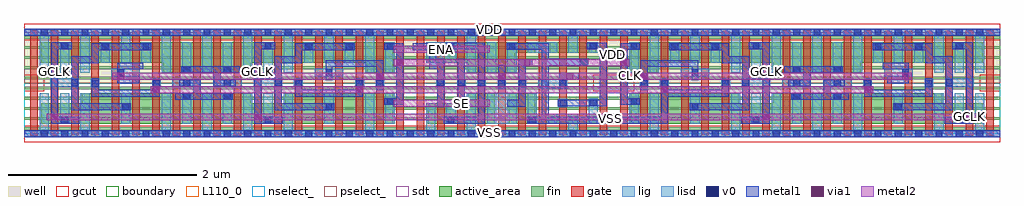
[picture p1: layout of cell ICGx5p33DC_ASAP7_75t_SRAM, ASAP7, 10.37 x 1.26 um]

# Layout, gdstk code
import gdstk
lib = gdstk.Library(unit=1e-6, precision=2.5e-10)
def R(c, l, rs):  # rectangles x0, y0, x1, y1
    for r in rs: c.add(gdstk.rectangle(r[:2], r[2:], *l))
def A(c, l, x, y, w, h, nx, ny, dx, dy):  # array of equal rectangles
    R(c, l, [(x+i*dx, y+j*dy, x+i*dx+w, y+j*dy+h) for i in range(nx) for j in range(ny)])
def P(c, l, *ps):  # polygons
    for p in ps: c.add(gdstk.Polygon(p, *l))
well = (1, 0)
fin = (2, 0)
gate = (7, 0)
gcut = (10, 0)
active_area = (11, 0)
nselect_ = (12, 0)
pselect_ = (13, 0)
lig = (16, 0)
lisd = (17, 0)
v0 = (18, 0)
metal1 = (19, 0)
metal2 = (20, 0)
via1 = (21, 0)
sdt = (88, 0)
boundary = (100, 0)
L110_0 = (110, 0)

icgx5p33dc_asap7_75t_sra = lib.new_cell('ICGx5p33DC_ASAP7_75t_SRAM')
R(icgx5p33dc_asap7_75t_sra, well, [(0,0.54,10.368,1.08)])
A(icgx5p33dc_asap7_75t_sra, fin, 0, 0.04, 10.368, 0.028, 1, 10, 0, 0.108)
A(icgx5p33dc_asap7_75t_sra, gate, 1.364, -0.02, 0.08, 1.12, 6, 1, 0.216, 0)
A(icgx5p33dc_asap7_75t_sra, gate, 7.844, -0.02, 0.08, 1.12, 6, 1, 0.216, 0)
A(icgx5p33dc_asap7_75t_sra, gate, 0.5, -0.014, 0.08, 1.108, 4, 1, 0.216, 0)
A(icgx5p33dc_asap7_75t_sra, gate, 2.66, -0.014, 0.08, 1.108, 24, 1, 0.216, 0)
A(icgx5p33dc_asap7_75t_sra, gate, 9.14, -0.014, 0.08, 1.108, 4, 1, 0.216, 0)
R(icgx5p33dc_asap7_75t_sra, gate, [(0.068,-0.02,0.148,1.1), (0.284,-0.02,0.364,1.1), (10.004,-0.02,10.084,1.1), (10.22,-0.02,10.3,1.1)])
R(icgx5p33dc_asap7_75t_sra, gcut, [(0,-0.088,10.368,0.088), (0,0.452,0.216,0.628), (6.048,0.452,6.48,0.628), (10.152,0.452,10.368,0.628), (0,0.992,10.368,1.168)])
R(icgx5p33dc_asap7_75t_sra, active_area, [(5.584,0.864,6.08,0.972)])
P(icgx5p33dc_asap7_75t_sra, active_area, [(10.184,0.324),(9.756,0.324),(9.756,0.432),(7.96,0.432),(7.96,0.324),(7.592,0.324),(7.592,0.432),(6.448,0.432),(6.448,0.108),(10.184,0.108)],
  [(6.08,0.216),(5.432,0.216),(5.432,0.432),(5.152,0.432),(5.152,0.108),(6.08,0.108)],
  [(5.432,0.972),(4.288,0.972),(4.288,0.756),(4.72,0.756),(4.72,0.648),(5.216,0.648),(5.216,0.864),(5.432,0.864)],
  [(5,0.432),(4.72,0.432),(4.72,0.324),(4.288,0.324),(4.288,0.108),(5,0.108)],
  [(3.92,0.432),(2.776,0.432),(2.776,0.324),(2.408,0.324),(2.408,0.432),(0.616,0.432),(0.616,0.324),(0.184,0.324),(0.184,0.108),(3.92,0.108)],
  [(10.184,0.972),(6.448,0.972),(6.448,0.648),(6.728,0.648),(6.728,0.756),(7.96,0.756),(7.96,0.648),(8.888,0.648),(8.888,0.756),(10.184,0.756)],
  [(3.92,0.972),(0.184,0.972),(0.184,0.756),(1.48,0.756),(1.48,0.648),(2.408,0.648),(2.408,0.756),(3.64,0.756),(3.64,0.648),(3.92,0.648)])
R(icgx5p33dc_asap7_75t_sra, nselect_, [(0,0,10.368,0.54)])
R(icgx5p33dc_asap7_75t_sra, pselect_, [(0,0.54,10.368,1.08)])
R(icgx5p33dc_asap7_75t_sra, lig, [(0,-0.032,10.368,0.032), (5.676,0.284,5.772,0.372), (5.032,0.492,5.12,0.576), (5.248,0.492,5.336,0.576), (5.464,0.492,5.556,0.576), (0.708,0.496,0.8,0.584), (1.36,0.496,1.452,0.584), (1.576,0.496,1.88,0.584), (2.008,0.496,2.312,0.584), (2.868,0.496,2.96,0.584), (3.52,0.496,3.612,0.584), (3.736,0.496,3.828,0.584), (4.38,0.496,4.472,0.584), (4.6,0.496,4.692,0.584), (4.816,0.496,4.904,0.584), (6.54,0.496,6.632,0.584), (6.756,0.496,6.848,0.584), (7.408,0.496,7.5,0.584), (8.056,0.496,8.36,0.584), (8.488,0.496,8.792,0.584), (8.916,0.496,9.008,0.584), (9.568,0.496,9.66,0.584), (0.28,0.5,0.584,0.588), (2.44,0.5,2.744,0.588), (7.624,0.5,7.928,0.588), (9.784,0.5,10.088,0.588), (0.928,0.604,1.232,0.692), (3.088,0.604,3.392,0.692), (6.976,0.604,7.28,0.692), (9.136,0.604,9.44,0.692), (5.896,0.72,5.984,0.8), (0,1.048,10.368,1.112)])
A(icgx5p33dc_asap7_75t_sra, lisd, 1.464, 0, 0.096, 0.432, 4, 2, 0.432, 0.648)
A(icgx5p33dc_asap7_75t_sra, lisd, 7.512, 0, 0.096, 0.432, 4, 2, 0.432, 0.648)
A(icgx5p33dc_asap7_75t_sra, lisd, 0.384, 0.108, 0.096, 0.324, 3, 1, 0.648, 0)
A(icgx5p33dc_asap7_75t_sra, lisd, 2.544, 0.108, 0.096, 0.324, 3, 1, 0.648, 0)
A(icgx5p33dc_asap7_75t_sra, lisd, 6.432, 0.108, 0.096, 0.324, 3, 1, 0.648, 0)
A(icgx5p33dc_asap7_75t_sra, lisd, 8.592, 0.108, 0.096, 0.324, 3, 1, 0.648, 0)
A(icgx5p33dc_asap7_75t_sra, lisd, 1.68, 0.648, 0.096, 0.324, 3, 1, 0.432, 0)
A(icgx5p33dc_asap7_75t_sra, lisd, 5.136, 0.648, 0.096, 0.324, 3, 1, 1.296, 0)
R(icgx5p33dc_asap7_75t_sra, lisd, [(0.168,0,0.264,0.432), (0.6,0,0.696,0.432), (3.624,0,3.72,0.432), (4.272,0,4.368,0.324), (4.704,0,4.8,0.432), (5.784,0,5.88,0.216), (6.648,0,6.744,0.432), (9.672,0,9.768,0.432), (10.104,0,10.2,0.432), (2.112,0.108,2.208,0.432), (4.488,0.108,4.584,0.324), (4.92,0.108,5.232,0.432), (5.352,0.108,5.448,0.432), (5.568,0.108,5.664,0.216), (6,0.108,6.096,0.376), (8.16,0.108,8.256,0.432), (5.496,0.484,5.772,0.584), (0.168,0.648,0.264,1.08), (0.384,0.648,0.48,0.972), (0.6,0.648,0.696,1.08), (3.624,0.648,3.72,1.08), (3.84,0.648,3.936,0.972), (4.704,0.648,4.8,1.08), (4.92,0.648,5.016,0.972), (6.648,0.648,6.744,1.08), (8.16,0.648,8.256,0.972), (8.592,0.648,8.688,0.972), (9.672,0.648,9.768,1.08), (9.888,0.648,9.984,0.972), (10.104,0.648,10.2,1.08), (0.816,0.756,0.912,0.972), (1.032,0.756,1.128,1.08), (1.248,0.756,1.344,0.972), (2.976,0.756,3.072,0.972), (3.192,0.756,3.288,1.08), (3.408,0.756,3.504,0.972), (4.272,0.756,4.592,0.972), (6.864,0.756,6.96,0.972), (7.08,0.756,7.176,1.08), (7.296,0.756,7.392,0.972), (9.024,0.756,9.12,0.972), (9.24,0.756,9.336,1.08), (9.456,0.756,9.552,0.972), (5.352,0.864,5.664,0.972), (5.784,0.864,5.88,1.08), (6,0.864,6.096,0.972)])
A(icgx5p33dc_asap7_75t_sra, v0, 0.18, -0.036, 0.072, 0.072, 47, 2, 0.216, 1.08)
A(icgx5p33dc_asap7_75t_sra, v0, 1.692, 0.36, 0.072, 0.072, 1, 3, 0, 0.144)
A(icgx5p33dc_asap7_75t_sra, v0, 2.124, 0.36, 0.072, 0.072, 1, 3, 0, 0.144)
A(icgx5p33dc_asap7_75t_sra, v0, 8.172, 0.36, 0.072, 0.072, 1, 3, 0, 0.144)
A(icgx5p33dc_asap7_75t_sra, v0, 8.604, 0.36, 0.072, 0.072, 1, 3, 0, 0.144)
A(icgx5p33dc_asap7_75t_sra, v0, 3.852, 0.892, 0.072, 0.072, 3, 1, 1.296, 0)
R(icgx5p33dc_asap7_75t_sra, v0, [(0.396,0.108,0.468,0.18), (2.556,0.108,2.628,0.18), (4.5,0.108,4.572,0.18), (5.364,0.108,5.436,0.18), (7.74,0.108,7.812,0.18), (9.9,0.108,9.972,0.18), (1.044,0.252,1.116,0.324), (3.204,0.252,3.276,0.324), (7.092,0.252,7.164,0.324), (9.252,0.252,9.324,0.324), (5.692,0.292,5.764,0.364), (6.012,0.292,6.084,0.364), (3.852,0.308,3.924,0.38), (6.444,0.308,6.516,0.38), (0.72,0.496,0.792,0.568), (1.368,0.496,1.44,0.568), (2.88,0.496,2.952,0.568), (3.528,0.496,3.6,0.568), (3.744,0.496,3.816,0.568), (5.04,0.496,5.112,0.568), (5.256,0.496,5.328,0.568), (6.552,0.496,6.624,0.568), (6.768,0.496,6.84,0.568), (7.416,0.496,7.488,0.568), (8.928,0.496,9,0.568), (9.576,0.496,9.648,0.568), (5.688,0.5,5.76,0.572), (4.824,0.504,4.896,0.576), (0.504,0.508,0.576,0.58), (2.664,0.508,2.736,0.58), (7.632,0.508,7.704,0.58), (9.792,0.508,9.864,0.58), (4.392,0.512,4.464,0.584), (4.608,0.512,4.68,0.584), (0.992,0.612,1.064,0.684), (3.204,0.612,3.276,0.684), (7.092,0.612,7.164,0.684), (9.328,0.612,9.4,0.684), (5.904,0.724,5.976,0.796), (0.828,0.888,0.9,0.96), (1.26,0.888,1.332,0.96), (2.988,0.888,3.06,0.96), (3.42,0.888,3.492,0.96), (6.876,0.888,6.948,0.96), (7.308,0.888,7.38,0.96), (9.036,0.888,9.108,0.96), (9.468,0.888,9.54,0.96), (4.5,0.896,4.572,0.968), (6.012,0.896,6.084,0.968), (0.396,0.9,0.468,0.972), (2.556,0.9,2.628,0.972), (7.74,0.9,7.812,0.972), (9.9,0.9,9.972,0.972)])
R(icgx5p33dc_asap7_75t_sra, metal1, [(0,-0.036,10.368,0.036), (4.608,0.28,4.68,0.796), (5.04,0.476,5.112,0.736), (0,1.044,10.368,1.116)])
P(icgx5p33dc_asap7_75t_sra, metal1, [(2.448,0.972),(2.668,0.972),(2.668,0.9),(2.52,0.9),(2.52,0.18),(2.748,0.18),(2.748,0.108),(2.448,0.108)],
  [(9.864,0.824),(9.648,0.824),(9.648,0.96),(9.016,0.96),(9.016,0.888),(9.576,0.888),(9.576,0.752),(9.792,0.752),(9.792,0.324),(9.232,0.324),(9.232,0.252),(9.864,0.252)],
  [(9.648,0.588),(9.576,0.588),(9.576,0.468),(9,0.468),(9,0.588),(8.928,0.588),(8.928,0.396),(9.648,0.396)],
  [(0.288,0.972),(0.508,0.972),(0.508,0.9),(0.36,0.9),(0.36,0.18),(0.588,0.18),(0.588,0.108),(0.288,0.108)],
  [(9.4,0.756),(9.124,0.756),(9.124,0.684),(9.328,0.684),(9.328,0.612),(9.168,0.612),(9.168,0.54),(9.4,0.54)],
  [(8.76,0.432),(8.568,0.432),(8.568,0.504),(8.72,0.504),(8.72,0.576),(8.496,0.576),(8.496,0.432),(8.152,0.432),(8.152,0.36),(8.76,0.36)],
  [(8.696,0.72),(8.076,0.72),(8.076,0.648),(8.28,0.648),(8.28,0.576),(8.12,0.576),(8.12,0.504),(8.352,0.504),(8.352,0.648),(8.696,0.648)],
  [(7.704,0.824),(7.488,0.824),(7.488,0.96),(6.856,0.96),(6.856,0.888),(7.416,0.888),(7.416,0.752),(7.632,0.752),(7.632,0.324),(7.072,0.324),(7.072,0.252),(7.704,0.252)],
  [(10.08,0.972),(9.86,0.972),(9.86,0.9),(10.008,0.9),(10.008,0.18),(9.78,0.18),(9.78,0.108),(10.08,0.108)],
  [(7.488,0.588),(7.416,0.588),(7.416,0.468),(6.84,0.468),(6.84,0.588),(6.768,0.588),(6.768,0.18),(5.572,0.18),(5.572,0.724),(5.996,0.724),(5.996,0.796),(5.572,0.796),(5.572,0.964),(5.128,0.964),(5.128,0.892),(5.5,0.892),(5.5,0.18),(5.344,0.18),(5.344,0.108),(6.84,0.108),(6.84,0.396),(7.488,0.396)],
  [(7.164,0.784),(6.552,0.784),(6.552,0.464),(6.624,0.464),(6.624,0.712),(7.092,0.712),(7.092,0.568),(7.164,0.568)],
  [(6.54,0.38),(6.412,0.38),(6.412,0.892),(6.54,0.892),(6.54,0.964),(6.34,0.964),(6.34,0.308),(6.54,0.308)],
  [(6.192,0.968),(5.976,0.968),(5.976,0.896),(6.116,0.896),(6.116,0.364),(5.672,0.364),(5.672,0.292),(6.192,0.292)],
  [(5.892,0.648),(5.688,0.648),(5.688,0.48),(5.76,0.48),(5.76,0.576),(5.892,0.576)],
  [(5.4,0.792),(5.256,0.792),(5.256,0.36),(5.132,0.36),(5.132,0.288),(5.328,0.288),(5.328,0.72),(5.4,0.72)],
  [(4.896,0.968),(4.48,0.968),(4.48,0.896),(4.824,0.896),(4.824,0.18),(4.46,0.18),(4.46,0.108),(4.896,0.108)],
  [(7.92,0.972),(7.7,0.972),(7.7,0.9),(7.848,0.9),(7.848,0.18),(7.62,0.18),(7.62,0.108),(7.92,0.108)],
  [(4.464,0.796),(4.38,0.796),(4.38,0.964),(4.128,0.964),(4.128,0.888),(4.304,0.888),(4.304,0.688),(4.392,0.688),(4.392,0.28),(4.464,0.28)],
  [(4.028,0.964),(3.828,0.964),(3.828,0.892),(3.956,0.892),(3.956,0.38),(3.828,0.38),(3.828,0.308),(4.028,0.308)],
  [(3.816,0.784),(3.204,0.784),(3.204,0.568),(3.276,0.568),(3.276,0.712),(3.744,0.712),(3.744,0.464),(3.816,0.464)],
  [(3.6,0.588),(3.528,0.588),(3.528,0.468),(2.952,0.468),(2.952,0.588),(2.88,0.588),(2.88,0.396),(3.6,0.396)],
  [(3.512,0.96),(2.88,0.96),(2.88,0.824),(2.664,0.824),(2.664,0.252),(3.296,0.252),(3.296,0.324),(2.736,0.324),(2.736,0.752),(2.952,0.752),(2.952,0.888),(3.512,0.888)],
  [(2.292,0.72),(1.672,0.72),(1.672,0.648),(2.016,0.648),(2.016,0.504),(2.248,0.504),(2.248,0.576),(2.088,0.576),(2.088,0.648),(2.292,0.648)],
  [(2.216,0.432),(1.872,0.432),(1.872,0.576),(1.648,0.576),(1.648,0.504),(1.8,0.504),(1.8,0.432),(1.608,0.432),(1.608,0.36),(2.216,0.36)],
  [(1.44,0.588),(1.368,0.588),(1.368,0.468),(0.792,0.468),(0.792,0.588),(0.72,0.588),(0.72,0.396),(1.44,0.396)],
  [(1.352,0.96),(0.72,0.96),(0.72,0.824),(0.504,0.824),(0.504,0.252),(1.136,0.252),(1.136,0.324),(0.576,0.324),(0.576,0.752),(0.792,0.752),(0.792,0.888),(1.352,0.888)],
  [(1.268,0.756),(0.992,0.756),(0.992,0.54),(1.224,0.54),(1.224,0.612),(1.064,0.612),(1.064,0.684),(1.268,0.684)])
R(icgx5p33dc_asap7_75t_sra, metal2, [(0.244,0.144,10.124,0.216), (3.928,0.288,4.948,0.36), (1.344,0.432,9.024,0.504), (0.94,0.576,9.432,0.648), (3.928,0.72,6.432,0.792), (3.928,0.864,4.948,0.936)])
R(icgx5p33dc_asap7_75t_sra, via1, [(0.288,0.144,0.36,0.216), (2.448,0.144,2.52,0.216), (7.848,0.144,7.92,0.216), (10.008,0.144,10.08,0.216), (4.608,0.288,4.68,0.36), (1.368,0.432,1.44,0.504), (3.528,0.432,3.6,0.504), (6.768,0.432,6.84,0.504), (8.928,0.432,9,0.504), (0.992,0.576,1.064,0.648), (3.744,0.576,3.816,0.648), (5.04,0.576,5.112,0.648), (5.76,0.576,5.832,0.648), (6.552,0.576,6.624,0.648), (9.328,0.576,9.4,0.648), (3.956,0.72,4.028,0.792), (5.308,0.72,5.38,0.792), (6.34,0.72,6.412,0.792), (4.304,0.864,4.38,0.936)])
A(icgx5p33dc_asap7_75t_sra, sdt, 0.168, 0.108, 0.096, 0.324, 4, 1, 0.432, 0)
A(icgx5p33dc_asap7_75t_sra, sdt, 1.68, 0.108, 0.096, 0.324, 4, 1, 0.216, 0)
A(icgx5p33dc_asap7_75t_sra, sdt, 2.76, 0.108, 0.096, 0.324, 3, 1, 0.432, 0)
A(icgx5p33dc_asap7_75t_sra, sdt, 4.704, 0.108, 0.096, 0.324, 4, 1, 0.216, 0)
A(icgx5p33dc_asap7_75t_sra, sdt, 5.568, 0.108, 0.096, 0.108, 3, 1, 0.216, 0)
A(icgx5p33dc_asap7_75t_sra, sdt, 6.648, 0.108, 0.096, 0.324, 4, 1, 0.432, 0)
A(icgx5p33dc_asap7_75t_sra, sdt, 8.16, 0.108, 0.096, 0.324, 4, 1, 0.216, 0)
A(icgx5p33dc_asap7_75t_sra, sdt, 1.464, 0.648, 0.096, 0.324, 5, 1, 0.216, 0)
A(icgx5p33dc_asap7_75t_sra, sdt, 4.704, 0.648, 0.096, 0.324, 3, 1, 0.216, 0)
A(icgx5p33dc_asap7_75t_sra, sdt, 7.944, 0.648, 0.096, 0.324, 5, 1, 0.216, 0)
A(icgx5p33dc_asap7_75t_sra, sdt, 0.168, 0.756, 0.096, 0.216, 6, 1, 0.216, 0)
A(icgx5p33dc_asap7_75t_sra, sdt, 2.544, 0.756, 0.096, 0.216, 5, 1, 0.216, 0)
A(icgx5p33dc_asap7_75t_sra, sdt, 6.864, 0.756, 0.096, 0.216, 5, 1, 0.216, 0)
A(icgx5p33dc_asap7_75t_sra, sdt, 9.024, 0.756, 0.096, 0.216, 6, 1, 0.216, 0)
A(icgx5p33dc_asap7_75t_sra, sdt, 5.352, 0.864, 0.096, 0.108, 4, 1, 0.216, 0)
R(icgx5p33dc_asap7_75t_sra, sdt, [(0.384,0.108,0.48,0.324), (2.544,0.108,2.64,0.324), (3.84,0.108,3.936,0.432), (4.272,0.108,4.368,0.324), (4.488,0.108,4.584,0.324), (6.432,0.108,6.528,0.432), (7.728,0.108,7.824,0.324), (9.24,0.108,9.336,0.432), (9.672,0.108,9.768,0.432), (9.888,0.108,9.984,0.324), (10.104,0.108,10.2,0.324), (3.624,0.648,3.72,0.972), (3.84,0.648,3.936,0.972), (6.432,0.648,6.528,0.972), (6.648,0.648,6.744,0.972), (4.272,0.756,4.368,0.972)])
R(icgx5p33dc_asap7_75t_sra, boundary, [(0,0,10.368,1.08)])
R(icgx5p33dc_asap7_75t_sra, L110_0, [(0,0,10.368,1.08)])
icgx5p33dc_asap7_75t_sra.add(gdstk.Label('VSS', (6.232,0.164), layer=3, texttype=251))
icgx5p33dc_asap7_75t_sra.add(gdstk.Label('VDD', (6.248,0.848), layer=1, texttype=251))
icgx5p33dc_asap7_75t_sra.add(gdstk.Label('GCLK', (2.484,0.664), layer=19, texttype=251))
icgx5p33dc_asap7_75t_sra.add(gdstk.Label('GCLK', (0.324,0.664), layer=19, texttype=251))
icgx5p33dc_asap7_75t_sra.add(gdstk.Label('VDD', (4.944,1.112), layer=19, texttype=251))
icgx5p33dc_asap7_75t_sra.add(gdstk.Label('VSS', (4.944,0.012), layer=19, texttype=251))
icgx5p33dc_asap7_75t_sra.add(gdstk.Label('GCLK', (7.884,0.664), layer=19, texttype=251))
icgx5p33dc_asap7_75t_sra.add(gdstk.Label('GCLK', (10.044,0.188), layer=20, texttype=251))
icgx5p33dc_asap7_75t_sra.add(gdstk.Label('CLK', (6.448,0.624), layer=20, texttype=251))
icgx5p33dc_asap7_75t_sra.add(gdstk.Label('ENA', (4.432,0.896), layer=20, texttype=251))
icgx5p33dc_asap7_75t_sra.add(gdstk.Label('SE', (4.644,0.32), layer=20, texttype=251))

lib.write_gds('ICGx5p33DC_ASAP7_75t_SRAM.gds')
